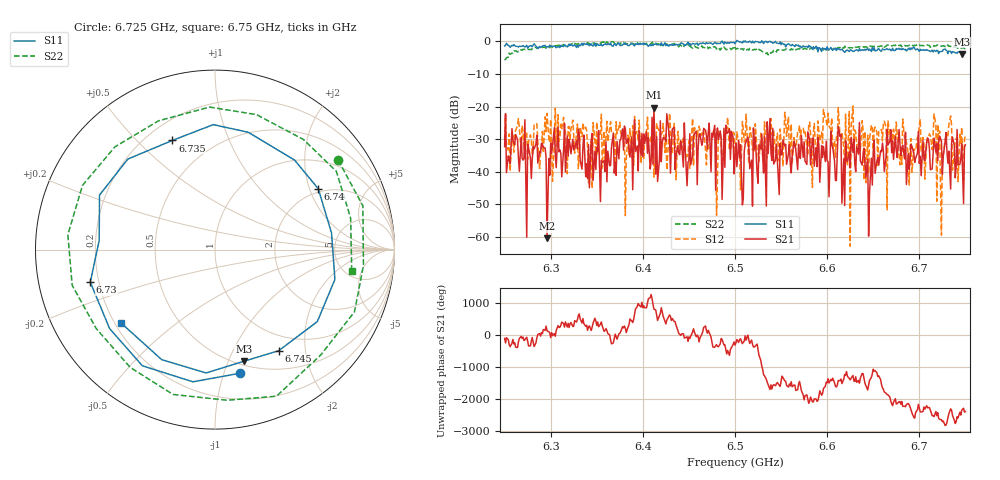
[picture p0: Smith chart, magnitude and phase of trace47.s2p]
# Hz S RI R 50
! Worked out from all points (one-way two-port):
!   401 points, 6.25 GHz to 6.75 GHz, reference 50 ohm
!   highest |S21| = -20.31 dB at 6.412 GHz (marker M1); lowest = -60.4 dB at 6.296 GHz (marker M2)
!   lowest |S11| = -3.8 dB at 6.746 GHz (marker M3), VSWR 4.60, Z = 26.8 - j56.9 ohm
!   |S11| at or under -10 dB: nowhere
!   |S22| runs from -5.7 to -0.1 dB; largest |S21 - S12| = 0.13
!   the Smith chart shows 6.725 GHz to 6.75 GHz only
!   S11 on the Smith chart (normalised r, x): 6.725 GHz: 0.42, -1.13; 6.73 GHz: 0.17, -0.12; 6.735 GHz: 0.30, +0.64; 6.74 GHz: 1.87, +2.30; 6.745 GHz: 0.76, -1.54; 6.75 GHz: 0.22, -0.33
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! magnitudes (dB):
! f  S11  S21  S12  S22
! 6.25 GHz  -1.4  -32.3  -30.3  -5.7
! 6.291 GHz  -1.5  -31.5  -27.6  -1.8
! 6.296 GHz  -1.6  -60.4  -22.1  -1.8
! 6.302 GHz  -1.6  -32.0  -42.9  -1.8
! 6.334 GHz  -0.8  -39.2  -29.3  -0.6
! 6.342 GHz  -1.3  -44.9  -35.9  -0.8
! 6.352 GHz  -1.2  -27.3  -29.0  -0.4
! 6.412 GHz  -0.9  -20.3  -41.6  -0.8
! 6.418 GHz  -1.0  -36.4  -27.7  -0.9
! 6.5 GHz  -0.7  -35.1  -33.2  -1.9
! 6.584 GHz  -2.4  -29.7  -44.8  -2.0
! 6.638 GHz  -2.6  -37.9  -24.3  -1.8
! 6.646 GHz  -2.4  -46.3  -29.9  -1.3
! 6.668 GHz  -2.4  -30.7  -29.0  -1.3
! 6.715 GHz  -3.2  -34.2  -28.7  -1.5
! 6.725 GHz  -3.1  -40.8  -35.2  -1.4
! 6.73 GHz  -2.9  -33.7  -28.3  -1.6
! 6.735 GHz  -3.7  -31.3  -25.7  -1.8
! 6.74 GHz  -3.5  -38.5  -29.8  -1.7
! 6.745 GHz  -3.5  -36.1  -31.5  -2.1
! 6.746 GHz  -3.8  -31.4  -26.4  -2.1
! 6.75 GHz  -3.5  -31.7  -28.4  -2.3
